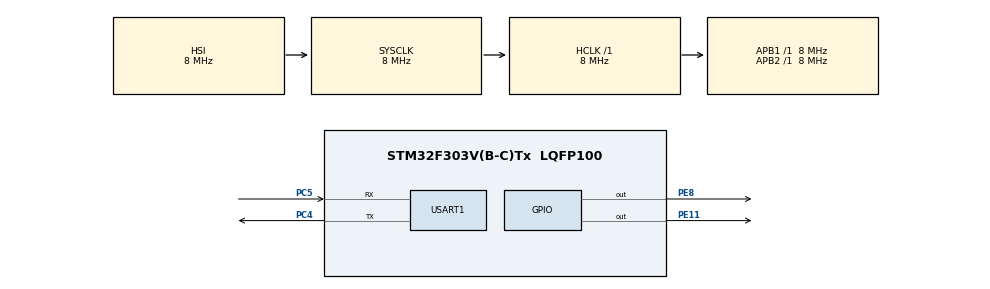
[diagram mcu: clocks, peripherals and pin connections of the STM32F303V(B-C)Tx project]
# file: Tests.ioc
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Mcu.Family=STM32F3
Mcu.Name=STM32F303V(B-C)Tx
Mcu.Package=LQFP100
NVIC.PriorityGroup=NVIC_PRIORITYGROUP_4
PC4.Mode=Asynchronous
PC4.Signal=USART1_TX
PC5.Mode=Asynchronous
PC5.Signal=USART1_RX
PE11.Signal=GPIO_Output
PE8.Signal=GPIO_Output
ProjectManager.HeapSize=0x200
ProjectManager.StackSize=0x400
ProjectManager.TargetToolchain=MDK-ARM V5.27
RCC.AHBFreq_Value=8000000
RCC.APB1Freq_Value=8000000
RCC.APB2Freq_Value=8000000
RCC.CortexFreq_Value=8000000
RCC.HSE_VALUE=8000000
RCC.HSI_VALUE=8000000
RCC.LSE_VALUE=32768
RCC.SYSCLKFreq_VALUE=8000000
USART1.VirtualMode-Asynchronous=VM_ASYNC
VP_CRC_VS_CRC.Mode=CRC_Activate
board=custom

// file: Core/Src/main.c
/* USER CODE BEGIN Header */
/**
  ******************************************************************************
  * @file           : main.c
  * @brief          : Main program body
  ******************************************************************************
  * @attention
  *
  * <h2><center>&copy; Copyright (c) 2023 STMicroelectronics.
  * All rights reserved.</center></h2>
  *
  * This software component is licensed by ST under BSD 3-Clause license,
  * the "License"; You may not use this file except in compliance with the
  * License. You may obtain a copy of the License at:
  *                        opensource.org/licenses/BSD-3-Clause
  *
  ******************************************************************************
  */
/* USER CODE END Header */
#include "main.h"
#include "Battleships.h"

CRC_HandleTypeDef hcrc;

UART_HandleTypeDef huart1;

/* USER CODE BEGIN PV */
uint8_t first_test=0;
uint8_t second_test=0;
uint8_t third_test=0;
uint8_t matrix[10][10];

/* USER CODE END PV */

void SystemClock_Config(void);
static void MX_GPIO_Init(void);
static void MX_CRC_Init(void);
static void MX_USART1_UART_Init(void);

/* USER CODE BEGIN 0 */

uint8_t test1(){

	initMatrix(matrix);

	Ships carrier1={5,5,0,carrier};

	uint8_t result=	setShip(carrier1,matrix);

	if(result !=1) return 0;

	uint8_t i;

	for(i=5;i<9;i++){

	if(matrix[5][i] != 'o') return 0;

	}

	return 1;
}

uint8_t test2(){

	Ships carrier2={13,25,0,carrier};
	uint8_t result=	setShip(carrier2,matrix);
	if(result !=103) return 0;

	uint8_t i;
	uint8_t j;
	for(i=0;i<10;i++){
		for(j=0;j<10;j++){
			if(matrix[i][j] != 'o') return 0;
		}
	}
	 return 1;
}

	uint8_t test3(){

	Ships carrier3={9,9,0,carrier};

	uint8_t result=	setShip(carrier3,matrix);

	if(result !=1) return 0;

	uint8_t i;
	uint8_t j;
	for(i=0;i<10;i++){
		for(j=0;j<10;j++)

	{

		if(matrix[i][j] != 'o') return 0;

	}

}
	 return 1;
	}

	uint8_t test4(){

		uint8_t matrix[10][10];
		uint8_t result;
		uint8_t i;
		uint8_t j;

		initMatrix(matrix);

		for(i=0;i<10;i++){
			for(j=0;j<10;j++){

				if(matrix[i][j]!='_') return 0;

			}

		}

		return 1;

	}

	uint8_t Collisiontest()
{
	uint8_t i;
	uint8_t j;
	uint8_t correctMatrix[10][10];
	initMatrix(correctMatrix);
	initMatrix(matrix);
	Ships ship1 = {7,7,3,carrier};
	Ships ship2 = {7,7,2,battleship};
	setShip(ship1, correctMatrix);
	setShip(ship1,matrix);
	uint8_t error = setShip(ship2,matrix);
	if(error!=104) return 0;
	for(i=0;i<10;i++)
		for(j=0;j<10;j++)
			if(matrix[i][j] != correctMatrix[i][j]) return 0;

	return 1;
}

uint8_t DecodeMessageTest()
{
	uint8_t i;
	uint8_t j;
	initMatrix(matrix);
	uint8_t message[30] = {'A', ':', 0x73, 0x31, 0x00, 0x55, 0x98, 0x11, 0x0F, 0xFC, 0, 0, 0, 0, 0, 0, 0, 0, 0, 0, 0, 0, 0, 0, 0, 0, 0, 0, 0};
	uint8_t correctMatrix[10][10];

	Ships ship1 = {7,7,3,carrier};
	Ships ship2 = {6,1,2,battleship};
	Ships ship3 = {0,0,0,destroyer};
	Ships ship4 = {5,5,0,submarine};
	Ships ship5 = {9,9,3,patrol_boat};

	initMatrix(correctMatrix);
	setShip(ship1, correctMatrix);
	setShip(ship2, correctMatrix);
	setShip(ship3, correctMatrix);
	setShip(ship4, correctMatrix);
	setShip(ship5, correctMatrix);

	shoot(0,0,correctMatrix);
	shoot(1,0,correctMatrix);
	shoot(2,0,correctMatrix);
	shoot(3,0,correctMatrix);
	shoot(4,0,correctMatrix);
	shoot(5,0,correctMatrix);
	shoot(6,0,correctMatrix);
	shoot(7,0,correctMatrix);
	shoot(8,0,correctMatrix);
	shoot(9,0,correctMatrix);

	uint8_t errorCode = decodeBoardMessage(message, matrix, &hcrc);
	for(i=0;i<10;i++)
			for(j=0;j<10;j++)
				if(matrix[i][j] != correctMatrix[i][j]) return 0;
	return 1;
}

uint8_t TestBoardSetup(){

	uint8_t message[30] = {'B', 'R', 'S', ':', carrier, 2, 2, 0, 0, 0, 0, 0, 0, 0, 0, 0, 0, 0, 0, 0, 0, 0, 0, 0, 0, 0, 0, 0, 0};
	uint8_t correctMatrix[10][10];
	uint8_t i;
	uint8_t j;
	Ships ship={2,2,0,carrier};
	setShip(ship,correctMatrix);
	if()
	parseMessageInput(message,&huart1,&hcrc);

	}

/* USER CODE END 0 */

int main(void)
{

  /* MCU Configuration--------------------------------------------------------*/

  /* Reset of all peripherals, Initializes the Flash interface and the Systick. */
  HAL_Init();

  /* Configure the system clock */
  SystemClock_Config();

  /* Initialize all configured peripherals */
  MX_GPIO_Init();
  MX_CRC_Init();
  MX_USART1_UART_Init();
  /* USER CODE BEGIN 2 */

	first_test=test1();
	second_test=test2();
	third_test=test3();
	if(first_test){

			HAL_GPIO_WritePin(GPIOE,GPIO_PIN_11,GPIO_PIN_SET);

		}else{

			HAL_GPIO_WritePin(GPIOE,GPIO_PIN_8,GPIO_PIN_SET);
		}
  /* USER CODE END 2 */

  /* Infinite loop */
  while (1)
  {

  }
}

void SystemClock_Config(void)
{
  RCC_OscInitTypeDef RCC_OscInitStruct = {0};
  RCC_ClkInitTypeDef RCC_ClkInitStruct = {0};
  RCC_PeriphCLKInitTypeDef PeriphClkInit = {0};

  /** Initializes the RCC Oscillators according to the specified parameters
  * in the RCC_OscInitTypeDef structure.
  */
  RCC_OscInitStruct.OscillatorType = RCC_OSCILLATORTYPE_HSI;
  RCC_OscInitStruct.HSIState = RCC_HSI_ON;
  RCC_OscInitStruct.HSICalibrationValue = RCC_HSICALIBRATION_DEFAULT;
  RCC_OscInitStruct.PLL.PLLState = RCC_PLL_NONE;
  if (HAL_RCC_OscConfig(&RCC_OscInitStruct) != HAL_OK)
  {
    Error_Handler();
  }
  /** Initializes the CPU, AHB and APB buses clocks
  */
  RCC_ClkInitStruct.ClockType = RCC_CLOCKTYPE_HCLK|RCC_CLOCKTYPE_SYSCLK
                              |RCC_CLOCKTYPE_PCLK1|RCC_CLOCKTYPE_PCLK2;
  RCC_ClkInitStruct.SYSCLKSource = RCC_SYSCLKSOURCE_HSI;
  RCC_ClkInitStruct.AHBCLKDivider = RCC_SYSCLK_DIV1;
  RCC_ClkInitStruct.APB1CLKDivider = RCC_HCLK_DIV1;
  RCC_ClkInitStruct.APB2CLKDivider = RCC_HCLK_DIV1;

  if (HAL_RCC_ClockConfig(&RCC_ClkInitStruct, FLASH_LATENCY_0) != HAL_OK)
  {
    Error_Handler();
  }
  PeriphClkInit.PeriphClockSelection = RCC_PERIPHCLK_USART1;
  PeriphClkInit.Usart1ClockSelection = RCC_USART1CLKSOURCE_PCLK2;
  if (HAL_RCCEx_PeriphCLKConfig(&PeriphClkInit) != HAL_OK)
  {
    Error_Handler();
  }
}

static void MX_CRC_Init(void)
{

  hcrc.Instance = CRC;
  hcrc.Init.DefaultPolynomialUse = DEFAULT_POLYNOMIAL_ENABLE;
  hcrc.Init.DefaultInitValueUse = DEFAULT_INIT_VALUE_ENABLE;
  hcrc.Init.InputDataInversionMode = CRC_INPUTDATA_INVERSION_NONE;
  hcrc.Init.OutputDataInversionMode = CRC_OUTPUTDATA_INVERSION_DISABLE;
  hcrc.InputDataFormat = CRC_INPUTDATA_FORMAT_BYTES;
  if (HAL_CRC_Init(&hcrc) != HAL_OK)
  {
    Error_Handler();
  }

}

static void MX_USART1_UART_Init(void)
{

  huart1.Instance = USART1;
  huart1.Init.BaudRate = 38400;
  huart1.Init.WordLength = UART_WORDLENGTH_8B;
  huart1.Init.StopBits = UART_STOPBITS_1;
  huart1.Init.Parity = UART_PARITY_NONE;
  huart1.Init.Mode = UART_MODE_TX_RX;
  huart1.Init.HwFlowCtl = UART_HWCONTROL_NONE;
  huart1.Init.OverSampling = UART_OVERSAMPLING_16;
  huart1.Init.OneBitSampling = UART_ONE_BIT_SAMPLE_DISABLE;
  huart1.AdvancedInit.AdvFeatureInit = UART_ADVFEATURE_NO_INIT;
  if (HAL_UART_Init(&huart1) != HAL_OK)
  {
    Error_Handler();
  }

}

static void MX_GPIO_Init(void)
{
  GPIO_InitTypeDef GPIO_InitStruct = {0};

  /* GPIO Ports Clock Enable */
  __HAL_RCC_GPIOC_CLK_ENABLE();
  __HAL_RCC_GPIOE_CLK_ENABLE();

  /*Configure GPIO pin Output Level */
  HAL_GPIO_WritePin(GPIOE, GPIO_PIN_8|GPIO_PIN_11, GPIO_PIN_RESET);

  /*Configure GPIO pins : PE8 PE11 */
  GPIO_InitStruct.Pin = GPIO_PIN_8|GPIO_PIN_11;
  GPIO_InitStruct.Mode = GPIO_MODE_OUTPUT_PP;
  GPIO_InitStruct.Pull = GPIO_NOPULL;
  GPIO_InitStruct.Speed = GPIO_SPEED_FREQ_LOW;
  HAL_GPIO_Init(GPIOE, &GPIO_InitStruct);

}

void Error_Handler(void)
{
  __disable_irq();
  while (1)
  {
  }
}

/************************ (C) COPYRIGHT STMicroelectronics *****END OF FILE****/
